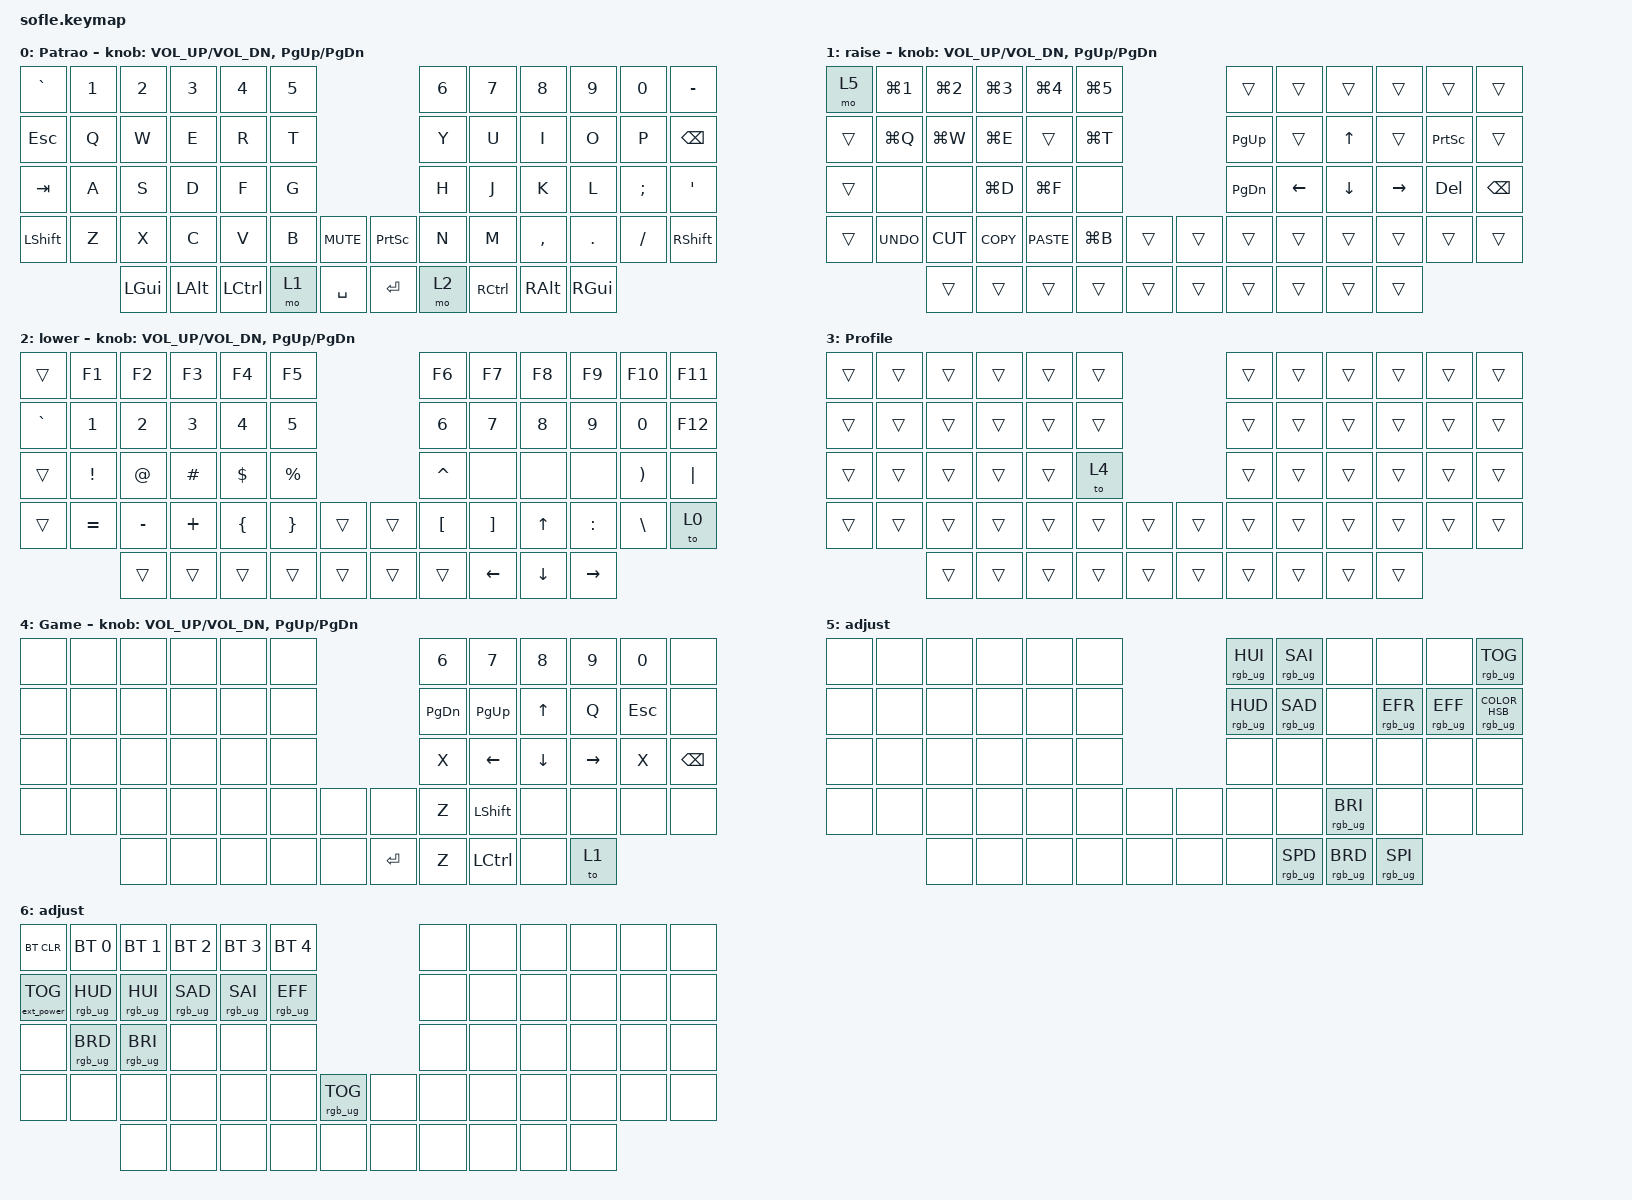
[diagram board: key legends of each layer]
/*
 * Copyright (c) 2020 The ZMK Contributors
 *
 * SPDX-License-Identifier: MIT
 */

#include <behaviors.dtsi>
#include <dt-bindings/zmk/bt.h>
#include <dt-bindings/zmk/ext_power.h>
#include <dt-bindings/zmk/keys.h>
#include <dt-bindings/zmk/rgb.h>

#define BASE 0
#define LOWER 1
#define RAISE 2
#define ADJUST 3

/ {
    // Activate ADJUST layer by pressing raise and lower

    conditional_layers {
        compatible = "zmk,conditional-layers";

        adjust_layer {
            if-layers = <2 1>;
            then-layer = <3>;
        };
    };

    keymap {
        compatible = "zmk,keymap";

        Patrao {
            display-name = "Patrao";

            // ------------------------------------------------------------------------------------------------------------
            // |   `   |  1  |  2  |  3   |  4   |  5   |                   |  6   |  7    |  8    |  9   |   0   |       |
            // |  ESC  |  Q  |  W  |  E   |  R   |  T   |                   |  Y   |  U    |  I    |  O   |   P   | BKSPC |
            // |  TAB  |  A  |  S  |  D   |  F   |  G   |                   |  H   |  J    |  K    |  L   |   ;   |   '   |
            // | SHIFT |  Z  |  X  |  C   |  V   |  B   |  MUTE  |  |       |  N   |  M    |  ,    |  .   |   /   | SHIFT |
            //               | GUI | ALT  | CTRL | LOWER|  ENTER |  | SPACE | RAISE| CTRL  | ALT   | GUI  |

            bindings = <
&kp GRAVE  &kp N1  &kp N2    &kp N3    &kp N4     &kp N5                                 &kp N6  &kp N7     &kp N8     &kp N9    &kp N0    &kp MINUS
&kp ESC    &kp Q   &kp W     &kp E     &kp R      &kp T                                  &kp Y   &kp U      &kp I      &kp O     &kp P     &kp BSPC
&kp TAB    &kp A   &kp S     &kp D     &kp F      &kp G                                  &kp H   &kp J      &kp K      &kp L     &kp SEMI  &kp SQT
&kp LSHFT  &kp Z   &kp X     &kp C     &kp V      &kp B   &kp C_MUTE    &kp PRINTSCREEN  &kp N   &kp M      &kp COMMA  &kp DOT   &kp FSLH  &kp RSHFT
                   &kp LGUI  &kp LALT  &kp LCTRL  &mo 1   &kp SPACE     &kp RET          &mo 2   &kp RCTRL  &kp RALT   &kp RGUI
            >;

            sensor-bindings = <&inc_dec_kp C_VOL_UP C_VOL_DN &inc_dec_kp PG_UP PG_DN>;
        };

        Esquerda {
            display-name = "raise";

            // ------------------------------------------------------------------------------------------------------------
            // | BTCLR | BT1  | BT2  |  BT3  |  BT4  |  BT5 |                |      |      |       |      |       |       |
            // |       | INS  | PSCR | GUI   |       |      |                | PGUP |      |   ^   |      |       |       |
            // |       | ALT  | CTRL | SHIFT |       | CAPS |                | PGDN |   <- |   v   |  ->  |  DEL  | BKSPC |
            // |       | UNDO | CUT  | COPY  | PASTE |      |      |  |      |      |      |       |      |       |       |
            //                |      |       |       |      |      |  |      |      |      |       |      |

            bindings = <
&mo 5   &kp LG(NUMBER_1)  &kp LG(NUMBER_2)  &kp LG(NUMBER_3)  &kp LG(NUMBER_4)  &kp LG(NUMBER_5)                    &trans     &trans    &trans    &trans     &trans           &trans
&trans  &kp LG(Q)         &kp LG(W)         &kp LG(E)         &trans            &kp LG(T)                           &kp PG_UP  &trans    &kp UP    &trans     &kp PRINTSCREEN  &trans
&trans  &none             &none             &kp LG(D)         &kp LG(F)         &none                               &kp PG_DN  &kp LEFT  &kp DOWN  &kp RIGHT  &kp DEL          &kp BSPC
&trans  &kp K_UNDO        &kp K_CUT         &kp K_COPY        &kp K_PASTE       &kp LG(B)         &trans    &trans  &trans     &trans    &trans    &trans     &trans           &trans
                          &trans            &trans            &trans            &trans            &trans    &trans  &trans     &trans    &trans    &trans
            >;

            sensor-bindings = <&inc_dec_kp C_VOL_UP C_VOL_DN &inc_dec_kp PG_UP PG_DN>;
        };

        Direita {
            display-name = "lower";

            // TODO: Some binds are waiting for shifted keycode support.
            // ------------------------------------------------------------------------------------------------------------
            // |       |  F1 |  F2 |  F3  |  F4  |  F5  |                   |  F6  |  F7   |  F8   |  F9  |  F10  |  F11  |
            // |   `   |  1  |  2  |  3   |  4   |  5   |                   |  6   |  7    |  8    |  9   |   0   |  F12  |
            // |       |  !  |  @  |  #   |  $   |  %   |                   |  ^   |  &    |  *    |  (   |   )   |   |   |
            // |       |  =  |  -  |  +   |  {   |  }   |        |  |       |  [   |  ]    |  ;    |  :   |   \   |       |
            //               |     |      |      |      |        |  |       |      |       |       |      |

            bindings = <
&trans     &kp F1     &kp F2     &kp F3    &kp F4    &kp F5                       &kp F6     &kp F7          &kp F8          &kp F9           &kp F10   &kp F11
&kp GRAVE  &kp N1     &kp N2     &kp N3    &kp N4    &kp N5                       &kp N6     &kp N7          &kp N8          &kp N9           &kp N0    &kp F12
&trans     &kp EXCL   &kp AT     &kp HASH  &kp DLLR  &kp PRCNT                    &kp CARET  &none           &none           &none            &kp RPAR  &kp PIPE
&trans     &kp EQUAL  &kp MINUS  &kp PLUS  &kp LBRC  &kp RBRC   &trans    &trans  &kp LBKT   &kp RBKT        &kp UP_ARROW    &kp COLON        &kp BSLH  &to 0
                      &trans     &trans    &trans    &trans     &trans    &trans  &trans     &kp LEFT_ARROW  &kp DOWN_ARROW  &kp RIGHT_ARROW
            >;

            sensor-bindings = <&inc_dec_kp C_VOL_UP C_VOL_DN &inc_dec_kp PG_UP PG_DN>;
        };

        Profile {
            display-name = "Profile";
            bindings = <
&trans  &trans  &trans  &trans  &trans  &trans                    &trans  &trans  &trans  &trans  &trans  &trans
&trans  &trans  &trans  &trans  &trans  &trans                    &trans  &trans  &trans  &trans  &trans  &trans
&trans  &trans  &trans  &trans  &trans  &to 4                     &trans  &trans  &trans  &trans  &trans  &trans
&trans  &trans  &trans  &trans  &trans  &trans  &trans    &trans  &trans  &trans  &trans  &trans  &trans  &trans
                &trans  &trans  &trans  &trans  &trans    &trans  &trans  &trans  &trans  &trans
            >;
        };

        Game-RPG {
            display-name = "Game";
            bindings = <
&none  &none  &none  &none  &none  &none                      &kp NUMBER_6   &kp N7            &kp N8    &kp N9     &kp NUMBER_0  &none
&none  &none  &none  &none  &none  &none                      &kp PAGE_DOWN  &kp PAGE_UP       &kp UP    &kp Q      &kp ESCAPE    &none
&none  &none  &none  &none  &none  &none                      &kp X          &kp LEFT          &kp DOWN  &kp RIGHT  &kp X         &kp BSPC
&none  &none  &none  &none  &none  &none  &none    &none      &kp Z          &kp LEFT_SHIFT    &none     &none      &none         &none
              &none  &none  &none  &none  &none    &kp ENTER  &kp Z          &kp LEFT_CONTROL  &none     &to 1
            >;

            sensor-bindings =
                <&inc_dec_kp C_VOL_UP C_VOL_DN>,
                <&inc_dec_kp PG_UP PG_DN>;
        };

        RGB {
            display-name = "adjust";
            bindings = <
&none  &none  &none  &none  &none  &none                  &rgb_ug RGB_HUI  &rgb_ug RGB_SAI  &none            &none            &none            &rgb_ug RGB_TOG
&none  &none  &none  &none  &none  &none                  &rgb_ug RGB_HUD  &rgb_ug RGB_SAD  &none            &rgb_ug RGB_EFR  &rgb_ug RGB_EFF  &rgb_ug RGB_COLOR_HSB(184,0,100)
&none  &none  &none  &none  &none  &none                  &none            &none            &none            &none            &none            &none
&none  &none  &none  &none  &none  &none  &none    &none  &none            &none            &rgb_ug RGB_BRI  &none            &none            &none
              &none  &none  &none  &none  &none    &none  &none            &rgb_ug RGB_SPD  &rgb_ug RGB_BRD  &rgb_ug RGB_SPI
            >;
        };

        adjust_layer {
            // ----------------------------------------------------------------------------------------------------------------------------
            // | BTCLR  |  BT1    |  BT2    |   BT3   |   BT4   |   BT5   |                  |      |      |       |      |       |       |
            // | EXTPWR | RGB_HUD | RGB_HUI | RGB_SAD | RGB_SAI | RGB_EFF |                  |      |      |       |      |       |       |
            // |        | RGB_BRD | RGB_BRI |         |         |         |                  |      |      |       |      |       |       |
            // |        |         |         |         |         |         | RGB_TOG | |      |      |      |       |      |       |       |
            //                    |         |         |         |         |         | |      |      |      |       |      |

            display-name = "adjust";
            bindings = <
&bt BT_CLR         &bt BT_SEL 0     &bt BT_SEL 1     &bt BT_SEL 2     &bt BT_SEL 3     &bt BT_SEL 4                               &none  &none  &none  &none  &none  &none
&ext_power EP_TOG  &rgb_ug RGB_HUD  &rgb_ug RGB_HUI  &rgb_ug RGB_SAD  &rgb_ug RGB_SAI  &rgb_ug RGB_EFF                            &none  &none  &none  &none  &none  &none
&none              &rgb_ug RGB_BRD  &rgb_ug RGB_BRI  &none            &none            &none                                      &none  &none  &none  &none  &none  &none
&none              &none            &none            &none            &none            &none            &rgb_ug RGB_TOG    &none  &none  &none  &none  &none  &none  &none
                                    &none            &none            &none            &none            &none              &none  &none  &none  &none  &none
            >;
        };
    };
};
